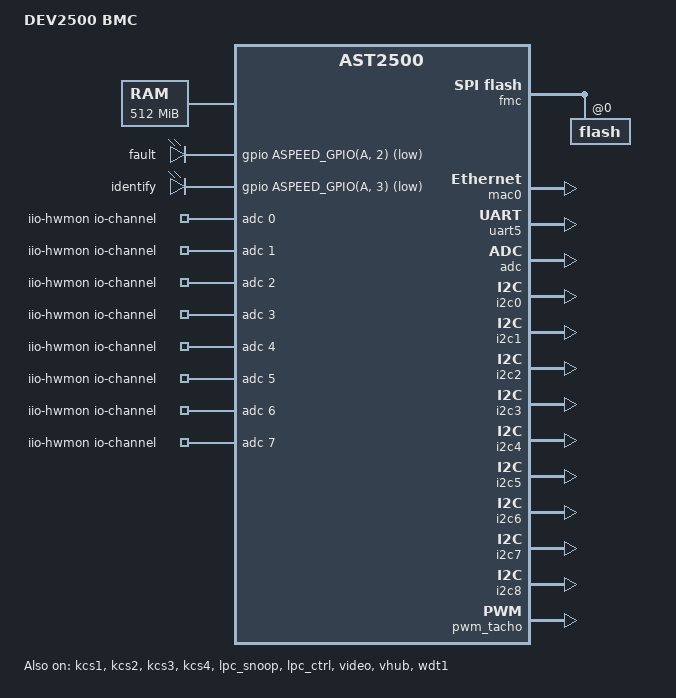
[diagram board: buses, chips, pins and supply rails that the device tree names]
// SPDX-License-Identifier: GPL-2.0
// Copyright (c) 2020 AMD Inc.
// Author: Supreeth Venkatesh <supreeth.venkatesh@amd.com>
/dts-v1/;

#include "aspeed-g5.dtsi"
#include <dt-bindings/gpio/aspeed-gpio.h>

/ {
	model = "DEV2500 BMC";
	compatible = "DEV,dev2500-bmc", "aspeed,ast2500";

	memory@80000000 {
		reg = <0x80000000 0x20000000>;
	};

	reserved-memory {
		#address-cells = <1>;
		#size-cells = <1>;
		ranges;

		video_engine_memory: jpegbuffer {
			size = <0x02000000>;	/* 32M */
			alignment = <0x01000000>;
			compatible = "shared-dma-pool";
			reusable;
		};
	};


	aliases {
		serial0 = &uart1;
		serial4 = &uart5;
	};
	chosen {
		stdout-path = &uart5;
		bootargs = "console=ttyS4,115200 earlycon";
	};
	leds {
		compatible = "gpio-leds";

		fault {
			gpios = <&gpio ASPEED_GPIO(A, 2) GPIO_ACTIVE_LOW>;
		};

		identify {
			gpios = <&gpio ASPEED_GPIO(A, 3) GPIO_ACTIVE_LOW>;
		};
	};
	iio-hwmon {
		compatible = "iio-hwmon";
		io-channels = <&adc 0>, <&adc 1>, <&adc 2>, <&adc 3>,
			<&adc 4>, <&adc 5>, <&adc 6>, <&adc 7>,
			<&adc 8>, <&adc 9>, <&adc 10>, <&adc 11>,
			<&adc 12>, <&adc 13>, <&adc 14>, <&adc 15>;
	};
};

&fmc {
	status = "okay";
	flash@0 {
		status = "okay";
		m25p,fast-read;
		#include "openbmc-flash-layout.dtsi"
	};
};


&mac0 {
	status = "okay";
	pinctrl-names = "default";
	pinctrl-0 = <&pinctrl_rmii1_default>;
	clocks = <&syscon ASPEED_CLK_GATE_MAC1CLK>,
		 <&syscon ASPEED_CLK_MAC1RCLK>;
	clock-names = "MACCLK", "RCLK";
};

// &mac1{
// 	status = "okay";
// };



// &uart1 {
// 	status = "okay";
// 	pinctrl-names = "default";
// 	pinctrl-0 = <&pinctrl_txd1_default
// 		     &pinctrl_rxd1_default>;
// };

// &mac1 {
// 	status = "okay";

// 	pinctrl-names = "default";
// 	pinctrl-0 = <&pinctrl_rgmii2_default &pinctrl_mdio2_default>;
// };

&mac0 {
	status = "okay";
	use-ncsi;

	pinctrl-names = "default";
	pinctrl-0 = <&pinctrl_rmii1_default>;
};

&uart5 {
	status = "okay";
};

&adc {
	status = "okay";
};

&gpio {
	status = "okay";
	gpio-line-names =
	/*A0-A7*/	"","","","","","","","",
	/*B0-B7*/	"","","","","","","","",
	/*C0-C7*/	"","","","","","","","",
	/*D0-D7*/	"","","","","","","","",
	/*E0-E7*/	"","","","","","","","",
	/*F0-F7*/	"","","","","","","","",
	/*G0-G7*/	"","","","","","","","",
	/*H0-H7*/	"","","","","","","","",
	/*I0-I7*/	"","","","","","","","",
	/*J0-J7*/	"","","","","","","","",
	/*K0-K7*/	"","","","","","","","",
	/*L0-L7*/	"","","","","","","","",
	/*M0-M7*/	"","","","","","","","",
	/*N0-N7*/	"","","","","","","","",
	/*O0-O7*/	"","","","","","","","",
	/*P0-P7*/	"","","","","","","","",
	/*Q0-Q7*/	"","","","","","","","",
	/*R0-R7*/	"","","","","","","","",
	/*S0-S7*/	"","","","","","","","",
	/*T0-T7*/	"","","","","","","","",
	/*U0-U7*/	"","","","","","","","",
	/*V0-V7*/	"","","","","","","","",
	/*W0-W7*/	"","","","","","","","",
	/*X0-X7*/	"","","","","","","","",
	/*Y0-Y7*/	"","","","","","","","",
	/*Z0-Z7*/	"","","","","","","","",
	/*AA0-AA7*/	"","","","","","","","",
	/*AB0-AB7*/	"","","","","","","","",
	/*AC0-AC7*/	"","","","","","","","";
};

&i2c0 {
	status = "okay";
};

&i2c1 {
	status = "okay";
};

&i2c2 {
	status = "okay";
};

&i2c3 {
	status = "okay";
	// eeprom@50 {
	// 	compatible = "atmel,24c256";
	// 	reg = <0x50>;
	// 	pagesize = <64>;
	// };
};


&i2c4 {
	status = "okay";
	// ipmb0@10 {
	// 	compatible = "ipmb-dev";
	// 	reg = <(0x10 | I2C_OWN_SLAVE_ADDRESS)>;
	// 	i2c-protocol;
	// };
};

&i2c5 {
	status = "okay";
};

&i2c6 {
	status = "okay";
};

&i2c7 {
	status = "okay";
};

&i2c8 {
	status = "okay";
};

&kcs1 {
	status = "okay";
	aspeed,lpc-io-reg = <0x60>;
};

&kcs2 {
	status = "okay";
	aspeed,lpc-io-reg = <0x62>;
};

&kcs3 {
	status = "okay";
	aspeed,lpc-io-reg = <0xCA2>;
};

&kcs4 {
	status = "okay";
	aspeed,lpc-io-reg = <0x97DE>;
};

&lpc_snoop {
	status = "okay";
	snoop-ports = <0x80>, <0x81>;
};

&lpc_ctrl {
	status = "okay";
};

&pwm_tacho {
	status = "okay";
	pinctrl-names = "default";
	pinctrl-0 = <&pinctrl_pwm0_default
	&pinctrl_pwm1_default
	&pinctrl_pwm2_default
	&pinctrl_pwm3_default
	&pinctrl_pwm4_default
	&pinctrl_pwm5_default
	&pinctrl_pwm6_default
	&pinctrl_pwm7_default>;

	fan@0 {
		reg = <0x00>;
		aspeed,fan-tach-ch = /bits/ 8 <0x00>;
	};

	fan@1 {
		reg = <0x01>;
		aspeed,fan-tach-ch = /bits/ 8 <0x01>;
	};

	fan@2 {
		reg = <0x02>;
		aspeed,fan-tach-ch = /bits/ 8 <0x02>;
	};

	fan@3 {
		reg = <0x03>;
		aspeed,fan-tach-ch = /bits/ 8 <0x03>;
	};

	fan@4 {
		reg = <0x04>;
		aspeed,fan-tach-ch = /bits/ 8 <0x04>;
	};

	fan@5 {
		reg = <0x05>;
		aspeed,fan-tach-ch = /bits/ 8 <0x05>;
	};

	fan@6 {
		reg = <0x06>;
		aspeed,fan-tach-ch = /bits/ 8 <0x06>;
	};

	fan@7 {
		reg = <0x07>;
		aspeed,fan-tach-ch = /bits/ 8 <0x07>;
	};
};

&video {
	status = "okay";
	memory-region = <&video_engine_memory>;
};

&vhub {
	status = "okay";
};

&wdt1{
	status = "okay";
};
